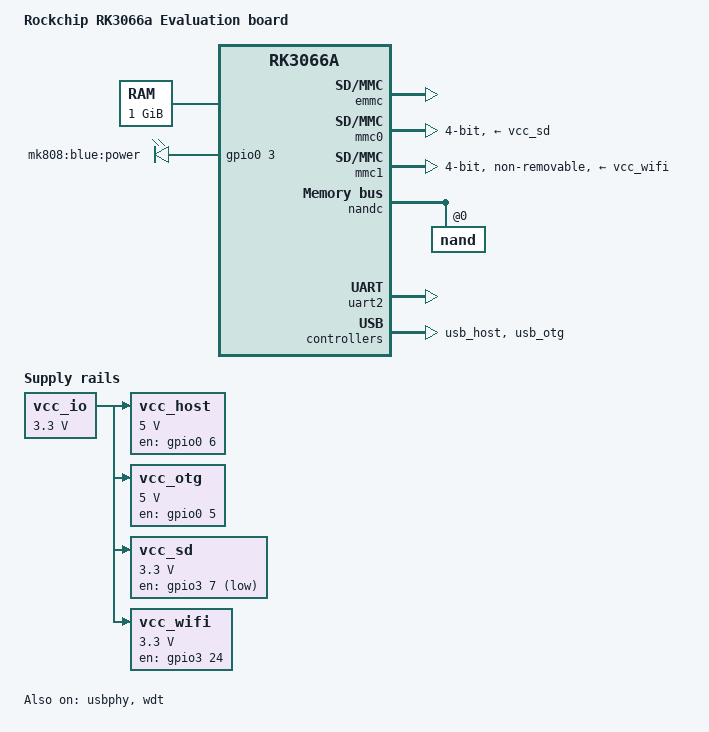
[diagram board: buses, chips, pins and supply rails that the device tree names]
/*
 * (C) Copyright 2017 Rockchip Electronics Co., Ltd.
 *
 * SPDX-License-Identifier:     GPL-2.0+ or X11
 */

/dts-v1/;
#include "rk3066a.dtsi"

/ {
	model = "Rockchip RK3066a Evaluation board";
	compatible = "rockchip,rk3066-evb", "rockchip,rk3066a";

	chosen {
		stdout-path = "serial2:115200n8";
	};

	memory@60000000 {
		reg = <0x60000000 0x40000000>;
		device_type = "memory";
	};

	gpio-leds {
		compatible = "gpio-leds";

		blue {
			label = "mk808:blue:power";
			gpios = <&gpio0 3 GPIO_ACTIVE_HIGH>;
			default-state = "off";
			linux,default-trigger = "default-on";
		};
	};

	vcc_io: vcc-io {
		compatible = "regulator-fixed";
		regulator-name = "vcc_io";
		regulator-min-microvolt = <3300000>;
		regulator-max-microvolt = <3300000>;
	};

	vcc_host: usb-host-regulator {
		compatible = "regulator-fixed";
		enable-active-high;
		gpio = <&gpio0 6 GPIO_ACTIVE_HIGH>;
		pinctrl-0 = <&host_drv>;
		pinctrl-names = "default";
		regulator-always-on;
		regulator-name = "host-pwr";
		regulator-min-microvolt = <5000000>;
		regulator-max-microvolt = <5000000>;
		startup-delay-us = <100000>;
		vin-supply = <&vcc_io>;
	};

	vcc_otg: usb-otg-regulator {
		compatible = "regulator-fixed";
		enable-active-high;
		gpio = <&gpio0 5 GPIO_ACTIVE_HIGH>;
		pinctrl-0 = <&otg_drv>;
		pinctrl-names = "default";
		regulator-always-on;
		regulator-name = "vcc_otg";
		regulator-min-microvolt = <5000000>;
		regulator-max-microvolt = <5000000>;
		startup-delay-us = <100000>;
		vin-supply = <&vcc_io>;
	};

	vcc_sd: sdmmc-regulator {
		compatible = "regulator-fixed";
		gpio = <&gpio3 7 GPIO_ACTIVE_LOW>;
		pinctrl-0 = <&sdmmc_pwr>;
		pinctrl-names = "default";
		regulator-name = "vcc_sd";
		regulator-min-microvolt = <3300000>;
		regulator-max-microvolt = <3300000>;
		startup-delay-us = <100000>;
		vin-supply = <&vcc_io>;
	};

	vcc_wifi: sdio-regulator {
		compatible = "regulator-fixed";
		enable-active-high;
		gpio = <&gpio3 24 GPIO_ACTIVE_HIGH>;
		pinctrl-0 = <&wifi_pwr>;
		pinctrl-names = "default";
		regulator-name = "vcc_wifi";
		regulator-min-microvolt = <3300000>;
		regulator-max-microvolt = <3300000>;
		startup-delay-us = <100000>;
		vin-supply = <&vcc_io>;
	};
};

&dmc {
	compatible = "rockchip,rk3066-dmc", "syscon";
	rockchip,pctl-timing = <0x12c 0xc8 0x1f4 0x1e 0x4e 0x4 0x69 0x6
		0x3 0x0 0x6 0x5 0xc 0x10 0x6 0x4
		0x4 0x5 0x4 0x200 0x3 0xa 0x40 0x0
		0x1 0x5 0x5 0x3 0xc 0x1e 0x100 0x0
		0x4 0x0>;
	rockchip,phy-timing = <0x208c6690 0x690878 0x10022a00
		0x220 0x40 0x0 0x0>;
	rockchip,sdram-params = <0x24716310 0 2 300000000 3 9 0>;
};

&emmc {
	status = "okay";
};

&mmc0 {
	bus-width = <4>;
	cap-mmc-highspeed;
	cap-sd-highspeed;
	num-slots = <1>;
	vmmc-supply = <&vcc_sd>;
	status = "okay";
};

&mmc1 {
	bus-width = <4>;
	disable-wp;
	non-removable;
	num-slots = <1>;
	pinctrl-0 = <&sd1_clk &sd1_cmd &sd1_bus4>;
	pinctrl-names = "default";
	vmmc-supply = <&vcc_wifi>;
	status = "okay";
};

&nandc {
	u-boot,dm-spl;
	status = "okay";
	#address-cells = <1>;
	#size-cells = <0>;

	nand@0 {
		u-boot,dm-spl;
		reg = <0>;
		nand-ecc-mode = "hw_syndrome";
		nand-ecc-strength = <40>;
		nand-ecc-step-size = <1024>;
		rockchip,protect-bootrom-blocks;
	};
};

&pinctrl {
	usb-host {
		host_drv: host-drv {
			rockchip,pins = <RK_GPIO0 6 RK_FUNC_GPIO &pcfg_pull_default>;
		};
	};

	usb-otg {
		otg_drv: otg-drv {
			rockchip,pins = <RK_GPIO0 5 RK_FUNC_GPIO &pcfg_pull_default>;
		};
	};

	sdmmc {
		sdmmc_pwr: sdmmc-pwr {
			rockchip,pins = <RK_GPIO3 7 RK_FUNC_GPIO &pcfg_pull_default>;
		};
	};

	sdio {
		wifi_pwr: wifi-pwr {
			rockchip,pins = <RK_GPIO3 24 RK_FUNC_GPIO &pcfg_pull_none>;
		};
	};
};

&uart2 {
	status = "okay";
	u-boot,dm-pre-reloc;
};

&usb_host {
	status = "okay";
};

&usb_otg {
	u-boot,dm-spl;
	status = "okay";
};

&usbphy {
	status = "okay";
};

&wdt {
	status = "okay";
};
